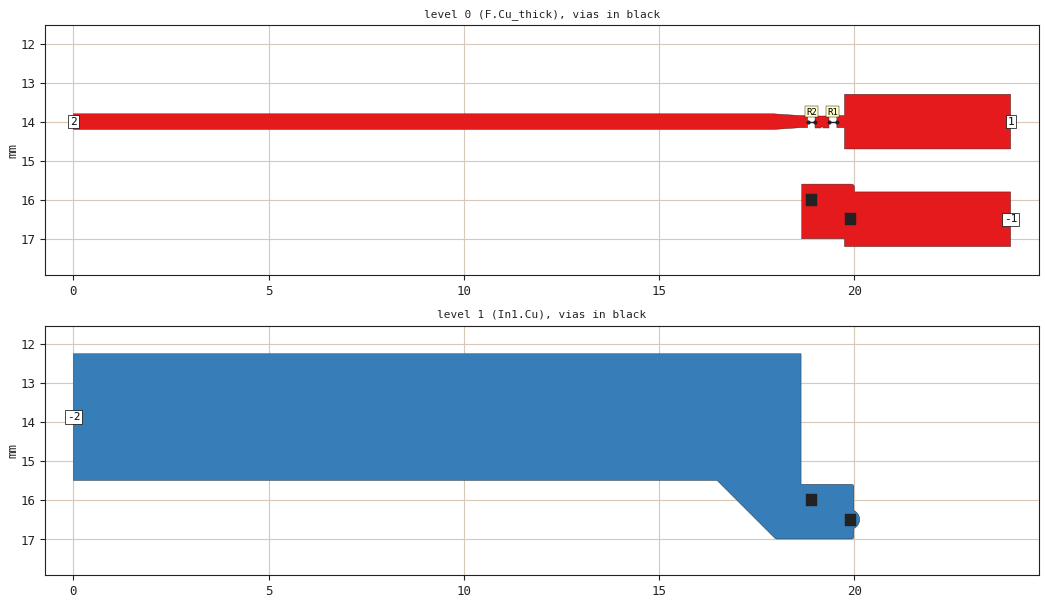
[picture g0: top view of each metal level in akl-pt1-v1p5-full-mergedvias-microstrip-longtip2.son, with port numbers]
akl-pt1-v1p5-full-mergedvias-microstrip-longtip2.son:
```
FTYP SONPROJ 19 ! Sonnet Project File
VER 18.54
HEADER
LIC antikernel2.1.51813
DAT 08/13/2022 01:01:55
BUILT_BY_CREATED dxf 18.54 08/11/2022 23:14:47
BUILT_BY_SAVED sonnet 18.54
MDATE 08/13/2022 01:01:55
HDATE 08/13/2022 01:01:55
ANN Created by dxfgeo, Sonnet Software Inc.
END HEADER
DIM
ANG DEG
CAP PF
CON /OH
FREQ GHZ
IND NH
LNG MM
RES OH
END DIM
CONTROL
VARSWP
OPTIONS  -dj
SPEED 0
CACHE_ABS 2
Q_ACC N
END CONTROL
GEO
DRP1 LEFT NONE 5
DRP1 RIGHT NONE 5
TMET "Free Space" 0 FREESPACE 376.7303136 0 0 0
BMET "Free Space" 0 FREESPACE 376.7303136 0 0 0
MET "Copper_1oz+plated_thick_up" 1 TMM 58000000 0.5 0.0432 2
MET "Copper_1oz+plated_thin" 4 NOR 58000000 0.5 0.0432 
MET "Copper_0.5oz_thin" 2 NOR 58000000 0.5 0.0175 
MET "Copper_1oz+plated_thick_down" 3 TMM 58000000 0.5 0.0432 2 CDVY TDWN
BOX 4 24 25 960 1000 20 0
      10 1 1 0 0 0 0 "Air"
      0.2021 3.61 1 0.0092 0 0 0 "Isola_FR408HR"
      1.1938 3.61 1 0.0092 0 0 0 "Isola_FR408HR"
      0.2021 3.61 1 0.0092 0 0 0 "Isola_FR408HR"
      10 1 1 0 0 0 0 "Air"
TECHLAY METAL F.Cu_thick <UNSPECIFIED> -1 -65534 CAD F.Cu drawing 
0 0 0 N 460 1 1 100 100 0 0 0 Y
END
END
TECHLAY VIA Via1 <UNSPECIFIED> -7 -65534 CAD Via1 drawing 
VIA POLYGON
0 0 -1 N 545 1 1 100 100 0 0 0 Y
TOLEVEL 3 RING NOCOVERS
END
END
TECHLAY METAL F.Cu_thin <UNSPECIFIED> -2 -65534 CAD F.Cu_thin drawing 
0 0 1 N 467 1 1 100 100 0 0 0 Y
END
END
TECHLAY METAL In1.Cu <UNSPECIFIED> -3 -65534 CAD In1.Cu drawing 
1 0 2 N 474 1 1 100 100 0 0 0 Y
END
END
TECHLAY METAL In2.Cu <UNSPECIFIED> -4 -65534 CAD In2.Cu drawing 
2 0 2 N 478 1 1 100 100 0 0 0 Y
END
END
TECHLAY METAL B.Cu_thin <UNSPECIFIED> -6 -65534 CAD B.Cu_thin drawing 
3 0 1 N 481 1 1 100 100 0 0 0 Y
END
END
TECHLAY METAL B.Cu_thick <UNSPECIFIED> -5 -65534 CAD B.Cu drawing 
3 0 3 N 483 1 1 100 100 0 0 0 Y
END
END
DIM STD YDIR -1
POS -0.4257284394 -0.2994744275
NOM 0.4
REF1 POLY 377 1
7
REF2 POLY 377 1
6
END
LORGN 0 25 U 
POR1 BOX
POLY 229 1
15
1 50 0 0 0 24 14 
POR1 BOX
POLY 377 1
6
2 50 0 0 0 0 14 
POR1 BOX
POLY 443 1
10
-1 50 0 0 0 24 16.5 
POR1 BOX
POLY 445 1
33
-2 50 0 0 0 0 13.871675 
SMD 0 "R1"
ID 240
GNDREF FLOAT
DRP1 LEFT NONE 2
DRP1 RIGHT NONE 2
SBOX 19.39875 19.49625 13.95125 14.04875
PBSHW N
LPOS 19.4475 13.95125
TYPE SPARAM 1
SMDP 0 19.545 14 R 3 1 
EXSMDP
GNDREF FLOAT
TERMW FEED
END EXSMDP
SMDP 0 19.35 14 L 4 2 
EXSMDP
GNDREF FLOAT
TERMW FEED
END EXSMDP
END
SMD 0 "R2"
ID 269
GNDREF FLOAT
DRP1 LEFT NONE 2
DRP1 RIGHT NONE 2
SBOX 18.85 18.95 13.95 14.05
PBSHW N
LPOS 18.9 13.95
TYPE SPARAM 2
SMDP 0 19 14 R 5 1 
EXSMDP
GNDREF FLOAT
TERMW FEED
END EXSMDP
SMDP 0 18.8 14 L 6 2 
EXSMDP
GNDREF FLOAT
TERMW FEED
END EXSMDP
END
NUM 7
0 13 0 N 3 1 1 100 100 0 0 0 Y
TLAYNAM F.Cu_thick INH
USER_DAT FromImport
19 14.155
19 13.845
19.15 13.845
19.15 13.85
19.2 13.85
19.2 13.845
19.35 13.845
19.35 14.155
19.2 14.155
19.2 14.15
19.15 14.15
19.15 14.155
19 14.155
END
0 17 0 N 229 1 1 100 100 0 0 0 Y
TLAYNAM F.Cu_thick INH
USER_DAT FromImport
24 13.3
19.745 13.3
19.745 13.845
19.55 13.845
19.55 13.959
19.549 13.962
19.546 13.977
19.545 13.992
19.545 14.008
19.546 14.023
19.549 14.038
19.55 14.041
19.55 14.155
19.745 14.155
19.745 14.7
24 14.7
24 13.3
END
0 15 0 N 377 1 1 100 100 0 0 0 Y
TLAYNAM F.Cu_thick INH
USER_DAT FromImport
18.8 13.845
18.65 13.845
18.65 13.853
18.638 13.849
18.623 13.846
17.933 13.8
0 13.8
0 14.2
17.933 14.2
18.623 14.154
18.638 14.151
18.65 14.147
18.65 14.155
18.8 14.155
18.8 13.845
END
0 12 0 N 443 1 1 100 100 0 0 0 Y
TLAYNAM F.Cu_thick INH
USER_DAT FromImport
24 15.8
20 15.8
20 15.674
19.999 15.661
19.974 15.617
19.926 15.6
18.65 15.6
18.65 17
19.745 17
19.745 17.2
24 17.2
24 15.8
END
VIA POLYGON
0 5 -1 N 7 1 1 100 100 0 0 0 Y
TOLEVEL 3 RING NOCOVERS
TLAYNAM Via1 INH
USER_DAT FromImport
19.75 16.65
19.75 16.35
20.05 16.35
20.05 16.65
19.75 16.65
END
VIA POLYGON
0 5 -1 N 8 1 1 100 100 0 0 0 Y
TOLEVEL 3 RING NOCOVERS
TLAYNAM Via1 INH
USER_DAT FromImport
18.75 16.15
18.75 15.85
19.05 15.85
19.05 16.15
18.75 16.15
END
1 40 2 N 445 1 1 100 100 0 0 0 Y
TLAYNAM In1.Cu INH
USER_DAT FromImport
19.968925 16.97935
19.982925 16.94435
19.982925 16.72235
19.989925 16.71935
20.011925 16.70735
20.031925 16.69435
20.050925 16.67835
20.067925 16.66135
20.083925 16.64235
20.096925 16.62235
20.108925 16.60035
20.117925 16.57735
20.125925 16.55435
20.129925 16.53035
20.132925 16.50535
20.132925 16.48135
20.129925 16.45635
20.125925 16.43235
20.117925 16.40935
20.108925 16.38635
20.096925 16.36435
20.083925 16.34435
20.067925 16.32535
20.050925 16.30835
20.031925 16.29235
20.011925 16.27935
19.989925 16.26735
19.982925 16.26435
19.982925 15.64235
19.968925 15.60735
19.933925 15.59335
18.632925 15.59335
18.632925 12.25
0 12.25
0 15.49335
16.482925 15.49335
17.968925 16.97935
18.002925 16.99335
19.933925 16.99335
19.968925 16.97935
END
END GEO
OPT
MAX 100
END OPT
VARSWP
ENABLED Y
FREQ Y AY ABS_ENTRY 0.1 12.0 -1 300 
END
END VARSWP
SMDFILES
1 "../../../../../../ceph/bulk/datasheets/Vishay/Resistors/CH/CH02016F_P/CH02016F_P_250R.s2p"
2 "../../../../../../ceph/bulk/datasheets/Vishay/Resistors/CH/CH02016F_P/CH02016F_P_200R.s2p"
END SMDFILES
```
